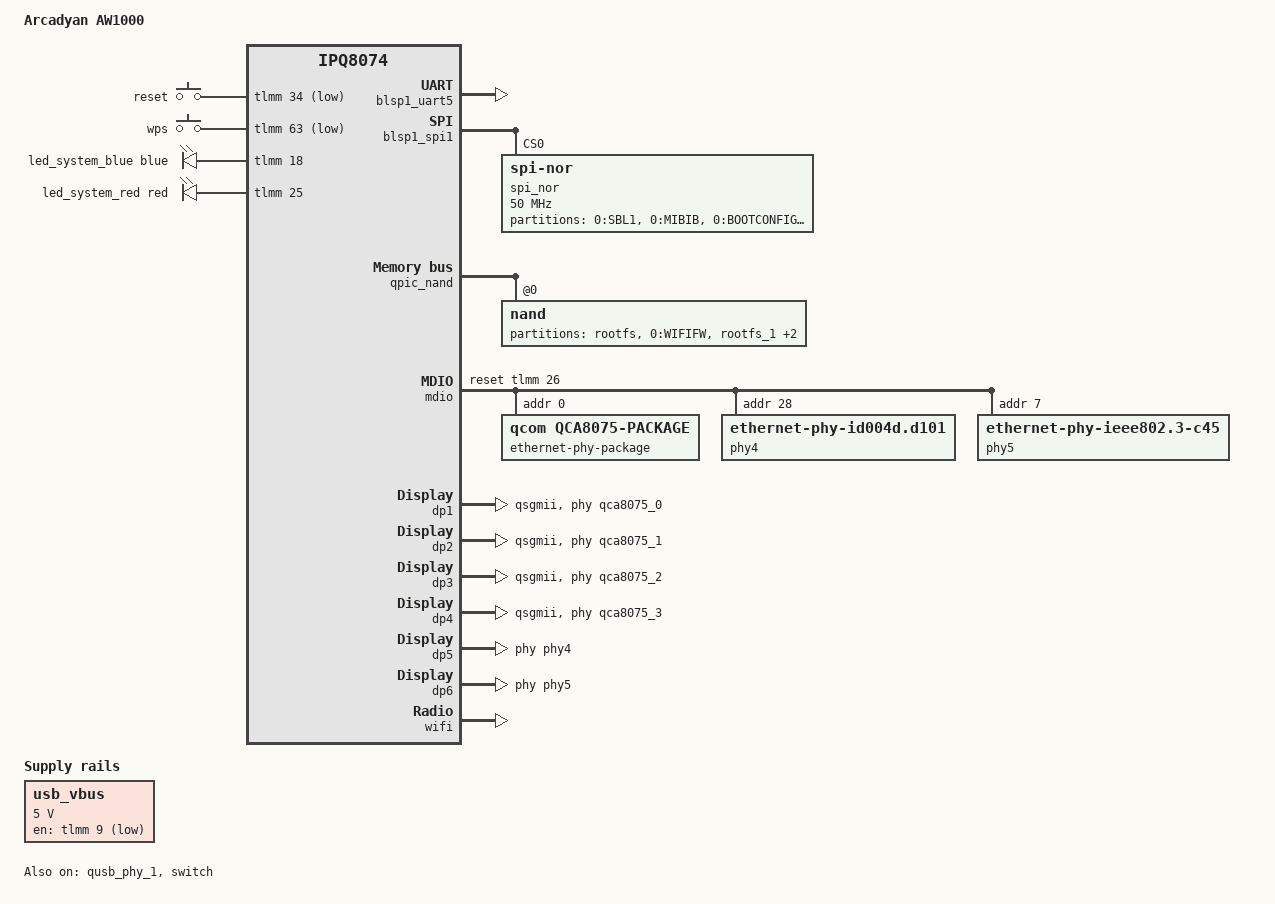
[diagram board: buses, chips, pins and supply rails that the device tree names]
// SPDX-License-Identifier: GPL-2.0-or-later OR MIT

/dts-v1/;

#include "ipq8074.dtsi"
#include "ipq8074-ess.dtsi"
#include "ipq8074-nss.dtsi"
#include "ipq8074-common.dtsi"
#include "ipq8074-hk-cpu.dtsi"

#include <dt-bindings/gpio/gpio.h>
#include <dt-bindings/input/input.h>
#include <dt-bindings/leds/common.h>

/ {
	model = "Arcadyan AW1000";
	compatible = "arcadyan,aw1000", "qcom,ipq8074";

	aliases {
		serial0 = &blsp1_uart5;
		serial1 = &blsp1_uart3;

		led-boot = &led_system_red;
		led-failsafe = &led_system_red;
		led-running = &led_system_blue;
		led-upgrade = &led_system_red;

		ethernet0 = &dp1;
		ethernet1 = &dp2;
		ethernet2 = &dp3;
		ethernet3 = &dp4;
		ethernet4 = &dp5;
		ethernet5 = &dp6;

		label-mac-device = &dp1;
	};

	chosen {
		stdout-path = "serial0:115200n8";
		bootargs-append = " root=/dev/ubiblock0_1 earlycon=msm_serial_dm,0x78b3000 consoleblank=0";
	};

	keys {
		compatible = "gpio-keys";

		reset {
			label = "reset";
			gpios = <&tlmm 34 GPIO_ACTIVE_LOW>;
			linux,code = <KEY_RESTART>;
		};

		wps {
			label = "wps";
			gpios = <&tlmm 63 GPIO_ACTIVE_LOW>;
			linux,code = <KEY_WPS_BUTTON>;
		};
	};

	leds {
		compatible = "gpio-leds";

		led_system_blue: system-blue {
			gpios = <&tlmm 18 GPIO_ACTIVE_HIGH>;
			color = <LED_COLOR_ID_BLUE>;
		};

		led_system_red: system-red {
			gpios = <&tlmm 25 GPIO_ACTIVE_HIGH>;
			color = <LED_COLOR_ID_RED>;
		};
	};

	usb_vbus: regulator-usb-vbus {
		compatible = "regulator-fixed";
		regulator-name = "usb_vbus";
		regulator-min-microvolt = <5000000>;
		regulator-max-microvolt = <5000000>;
		gpios = <&tlmm 9 GPIO_ACTIVE_LOW>;
		regulator-boot-on;
	};
};

&blsp1_uart5 {
	status = "okay";
	pinctrl-0 = <&serial_4_pins>;
	pinctrl-names = "default";
};

&blsp1_uart1 {
	status = "disabled";
};

/* 启用SPI控制器并配置Flash */
&blsp1_spi1 {
	status = "okay";
	pinctrl-0 = <&spi_0_pins>;
	pinctrl-names = "default";
	cs-select = <0>;

	spi_nor@0 {
		compatible = "jedec,spi-nor";
		#address-cells = <1>;
		#size-cells = <1>;
		reg = <0>;
		spi-max-frequency = <50000000>;

		partitions {
			compatible = "fixed-partitions";
			#address-cells = <1>;
			#size-cells = <1>;

			partition@0 {
				label = "0:SBL1";
				reg = <0x000000 0x050000>;
				read-only;
			};

			partition@50000 {
				label = "0:MIBIB";
				reg = <0x050000 0x010000>;
				read-only;
			};

			partition@60000 {
				label = "0:BOOTCONFIG";
				reg = <0x060000 0x020000>;
				read-only;
			};

			partition@80000 {
				label = "0:BOOTCONFIG1";
				reg = <0x080000 0x020000>;
				read-only;
			};

			partition@a0000 {
				label = "0:QSEE";
				reg = <0x0a0000 0x180000>;
				read-only;
			};

			partition@220000 {
				label = "0:QSEE_1";
				reg = <0x220000 0x180000>;
				read-only;
			};

			partition@3a0000 {
				label = "0:DEVCFG";
				reg = <0x3a0000 0x010000>;
				read-only;
			};

			partition@3b0000 {
				label = "0:DEVCFG_1";
				reg = <0x3b0000 0x010000>;
				read-only;
			};

			partition@3c0000 {
				label = "0:APDP";
				reg = <0x3c0000 0x010000>;
				read-only;
			};

			partition@3d0000 {
				label = "0:APDP_1";
				reg = <0x3d0000 0x010000>;
				read-only;
			};

			partition@3e0000 {
				label = "0:RPM";
				reg = <0x3e0000 0x040000>;
				read-only;
			};

			partition@420000 {
				label = "0:RPM_1";
				reg = <0x420000 0x040000>;
				read-only;
			};

			partition@460000 {
				label = "0:CDT";
				reg = <0x460000 0x010000>;
				read-only;
			};

			partition@470000 {
				label = "0:CDT_1";
				reg = <0x470000 0x010000>;
				read-only;
			};

			partition@480000 {
				label = "0:APPSBLENV";
				reg = <0x480000 0x010000>;
			};

			partition@490000 {
				label = "0:APPSBL";
				reg = <0x490000 0x0a0000>;
				read-only;
			};

			partition@530000 {
				label = "0:APPSBL_1";
				reg = <0x530000 0x0a0000>;
				read-only;
			};

			partition@5d0000 {
				label = "0:ART";
				reg = <0x5d0000 0x040000>;
				read-only;
			};

			partition@610000 {
				label = "0:ETHPHYFW";
				reg = <0x610000 0x080000>;
				read-only;
			};

		};
	};
};

&qpic_nand {
	status = "okay";

	partitions {
		status = "disabled";
	};

	nand@0 {
		reg = <0>;

		nand-ecc-strength = <8>;
		nand-ecc-step-size = <512>;
		nand-bus-width = <8>;

		partitions {
			compatible = "fixed-partitions";
			#address-cells = <1>;
			#size-cells = <1>;

			rootfs: partition@0 {
				label = "rootfs";
				reg = <0x00000000 0x03400000>;
			};

			partition@3400000 {
				label = "0:WIFIFW";
				reg = <0x03400000 0x00800000>;
				read-only;
			};

			partition@3c00000 {
				label = "rootfs_1";
				reg = <0x03c00000 0x03400000>;
			};

			partition@7000000 {
				label = "0:WIFIFW_1";
				reg = <0x07000000 0x00800000>;
				read-only;
			};

			partition@7800000 {
				label = "data";
				reg = <0x07800000 0x08800000>;
			};
		};
	};
};

&qusb_phy_1 {
	status = "okay";
	vdd-supply = <&usb_vbus>;
};

&mdio {
	status = "okay";

	pinctrl-0 = <&mdio_pins>;
	pinctrl-names = "default";
	reset-gpios = <&tlmm 26 0>;

	ethernet-phy-package@0 {
		compatible = "qcom,qca8075-package";
		#address-cells = <1>;
		#size-cells = <0>;
		reg = <0>;

		qcom,package-mode = "qsgmii";

		qca8075_0: ethernet-phy@0 {
			compatible = "ethernet-phy-ieee802.3-c22";
			reg = <0>;
		};

		qca8075_1: ethernet-phy@1 {
			compatible = "ethernet-phy-ieee802.3-c22";
			reg = <1>;
		};

		qca8075_2: ethernet-phy@2 {
			compatible = "ethernet-phy-ieee802.3-c22";
			reg = <2>;
		};

		qca8075_3: ethernet-phy@3 {
			compatible = "ethernet-phy-ieee802.3-c22";
			reg = <3>;
		};
	};

	phy4: ethernet-phy@28 {
		compatible = "ethernet-phy-id004d.d101";
		reg = <28>;
	};
	
	/* 添加dp6使用的PHY，地址为7，使用c45协议 */
	phy5: ethernet-phy@7 {
		compatible = "ethernet-phy-ieee802.3-c45";
		reg = <7>;
	};
};

&switch {
	status = "okay";

	switch_lan_bmp = <(ESS_PORT1 | ESS_PORT2 | ESS_PORT3 | ESS_PORT4)>;
	switch_wan_bmp = <(ESS_PORT5 |ESS_PORT6)>;
	switch_mac_mode = <MAC_MODE_QSGMII>;
	switch_mac_mode2 = <MAC_MODE_SGMII_PLUS>;

	qcom,port_phyinfo {
		port@1 {
			port_id = <1>;
			phy_address = <0>;
		};

		port@2 {
			port_id = <2>;
			phy_address = <1>;
		};

		port@3 {
			port_id = <3>;
			phy_address = <2>;
		};

		port@4 {
			port_id = <4>;
			phy_address = <3>;
		};

		port@5 {
			port_id = <5>;
			phy_address = <28>;
			port_mac_sel = "QGMAC_PORT";
		};

		port@6 {
			port_id = <6>;
			phy_address = <7>;
			ethernet-phy-ieee802.3-c45;
		};
	};
};

&edma {
	status = "okay";
};

&dp1 {
	status = "okay";
	phy-mode = "qsgmii";
	phy-handle = <&qca8075_0>;
	label = "lan1";
};

&dp2 {
	status = "okay";
	phy-mode = "qsgmii";
	phy-handle = <&qca8075_1>;
	label = "lan2";
};

&dp3 {
	status = "okay";
	phy-mode = "qsgmii";
	phy-handle = <&qca8075_2>;
	label = "lan3";
};

&dp4 {
	status = "okay";
	phy-mode = "qsgmii";
	phy-handle = <&qca8075_3>;
	label = "lan4";
};

&dp5 {
	status = "okay";
	phy-handle = <&phy4>;
	label = "wan";
};

&dp6 {
	status = "okay";
	phy-handle = <&phy5>;
};

&wifi {
	status = "okay";
	qcom,ath11k-fw-memory-mode = <1>;
	qcom,ath11k-calibration-variant = "Arcadyan-AW1000";
};
